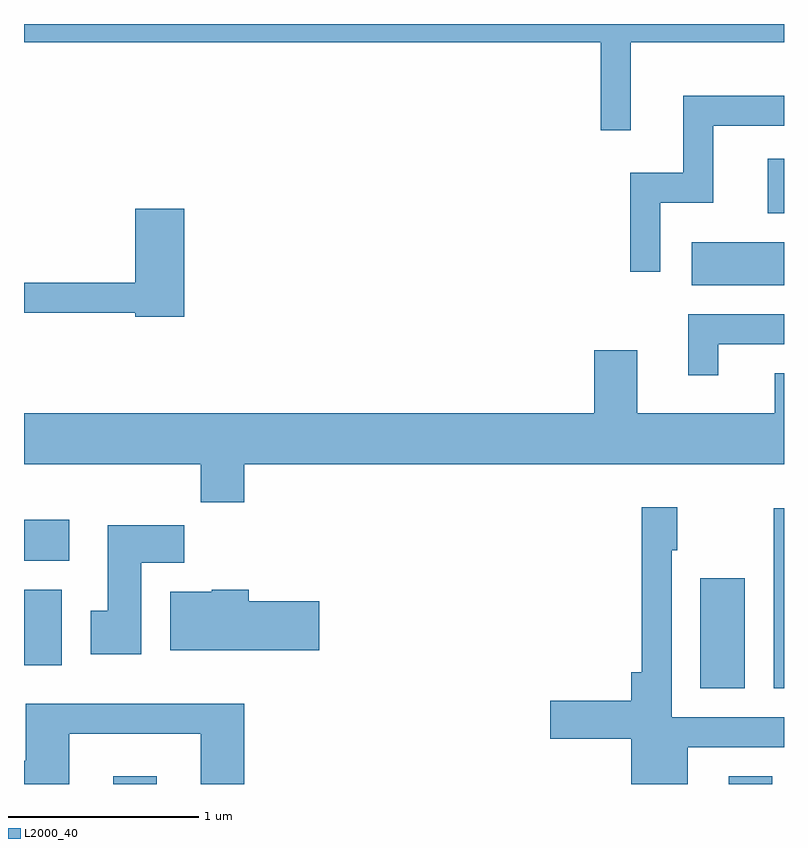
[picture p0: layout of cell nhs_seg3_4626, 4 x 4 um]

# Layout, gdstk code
import gdstk
lib = gdstk.Library(unit=1e-6, precision=1e-09)
def R(c, l, rs):  # rectangles x0, y0, x1, y1
    for r in rs: c.add(gdstk.rectangle(r[:2], r[2:], *l))
def P(c, l, *ps):  # polygons
    for p in ps: c.add(gdstk.Polygon(p, *l))
L2000_40 = (2000, 40)

nhs_seg3_4626 = lib.new_cell('nhs_seg3_4626')
R(nhs_seg3_4626, L2000_40, [(322.081,1119.892,322.309,1119.934), (325.321,1119.892,325.549,1119.934), (325.171,1120.396,325.404,1120.974), (325.556,1120.396,325.611,1121.344), (321.611,1120.516,321.809,1120.914), (321.611,1121.066,321.849,1121.284), (325.126,1122.516,325.611,1122.744), (325.526,1122.896,325.611,1123.184)])
P(nhs_seg3_4626, L2000_40, [(324.804,1123.796),(325.611,1123.796),(325.611,1123.892),(321.611,1123.892),(321.611,1123.796),(324.646,1123.796),(324.646,1123.333),(324.804,1123.333)],
  [(324.959,1122.951),(325.239,1122.951),(325.239,1123.356),(325.611,1123.356),(325.611,1123.514),(325.081,1123.514),(325.081,1123.109),(324.801,1123.109),(324.801,1122.588),(324.959,1122.588)],
  [(322.454,1122.919),(322.196,1122.919),(322.196,1122.529),(321.611,1122.529),(321.611,1122.371),(322.196,1122.371),(322.196,1122.351),(322.454,1122.351)],
  [(325.264,1122.206),(325.611,1122.206),(325.611,1122.364),(325.106,1122.364),(325.106,1122.043),(325.264,1122.043)],
  [(322.769,1121.576),(325.611,1121.576),(325.611,1122.054),(325.561,1122.054),(325.561,1121.844),(324.839,1121.844),(324.839,1122.174),(324.611,1122.174),(324.611,1121.844),(321.611,1121.844),(321.611,1121.576),(322.541,1121.576),(322.541,1121.376),(322.769,1121.376)],
  [(325.104,1120.086),(325.611,1120.086),(325.611,1120.244),(325.019,1120.244),(325.019,1121.121),(325.049,1121.121),(325.049,1121.349),(324.861,1121.349),(324.861,1120.479),(324.806,1120.479),(324.806,1120.329),(324.381,1120.329),(324.381,1120.131),(324.806,1120.131),(324.806,1119.892),(325.104,1119.892)],
  [(322.229,1121.056),(322.454,1121.056),(322.454,1121.254),(322.051,1121.254),(322.051,1120.804),(321.961,1120.804),(321.961,1120.576),(322.229,1120.576)],
  [(323.164,1120.854),(322.794,1120.854),(322.794,1120.914),(322.6,1120.914),(322.6,1120.904),(322.381,1120.904),(322.381,1120.596),(323.164,1120.596)],
  [(321.849,1120.156),(322.541,1120.156),(322.541,1119.892),(322.769,1119.892),(322.769,1120.314),(321.621,1120.314),(321.621,1120.014),(321.611,1120.014),(321.611,1119.892),(321.849,1119.892)])

lib.write_gds('nhs_seg3_4626.gds')
